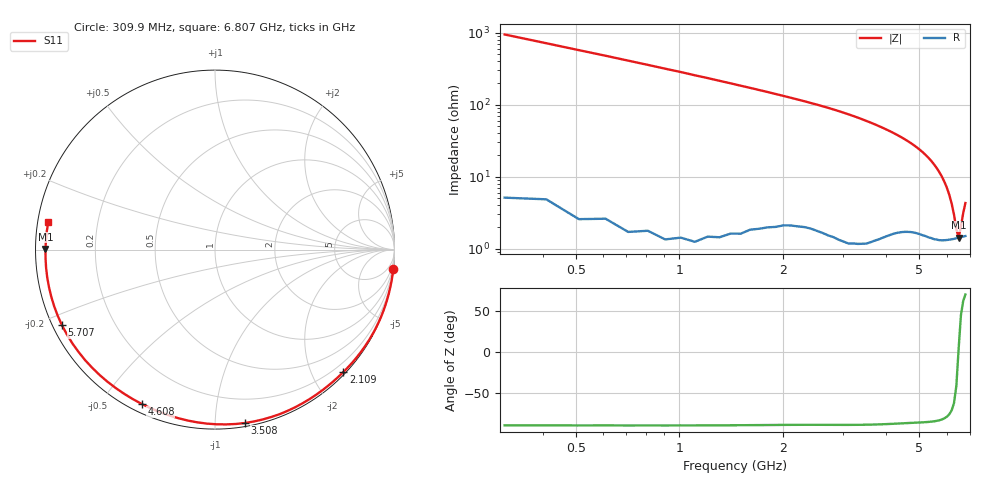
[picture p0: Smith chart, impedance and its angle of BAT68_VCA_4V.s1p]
! Infineon Technologies  Discrete & RF Semiconductors
! BAT68
! VCA = 4 V
! One-Port S-Parameters
# Hz  S  MA  R  50
!f  S11
!Hz  Mag  Ang
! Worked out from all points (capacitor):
!   66 points, 309.9 MHz to 6.807 GHz, reference 50 ohm
!   read as one part to ground: C = 545 fF near 309.9 MHz
!   lowest |Z| = 1.43 ohm at 6.507 GHz (marker M1)
!   series resonance near 6.499 GHz, so ESL is about 1.1 nH
!   S11 on the Smith chart (normalised r, x): 309.9 MHz: 0, -19; 2.109 GHz: 0.04, -2.50; 3.508 GHz: 0.02, -1.19; 4.608 GHz: 0.03, -0.63; 5.707 GHz: 0.03, -0.23; 6.807 GHz: 0.03, +0.08
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3.0985e8  0.9994 -6.1
7.0965e8  0.999 -14.0
1.0095e9  0.9983 -20.0
1.2094e9  0.9974 -24.2
1.6092e9  0.9942 -32.7
2.009e9  0.9895 -41.4
2.10895e9  0.9884 -43.7
2.50875e9  0.9859 -52.9
2.8086e9  0.9853 -60.4
3.10845e9  0.985 -68.5
3.30835e9  0.9831 -74.2
3.50825e9  0.9805 -80.2
3.6082e9  0.9784 -83.2
3.8081e9  0.9735 -89.4
4.008e9  0.9676 -95.8
4.2079e9  0.9614 -102.2
4.4078e9  0.9559 -108.8
4.6077e9  0.9519 -115.4
4.90755e9  0.949 -125.7
5.10745e9  0.9494 -132.5
5.2074e9  0.9495 -136.1
5.50725e9  0.951 -146.7
5.70715e9  0.951 -153.8
5.90705e9  0.95 -160.7
6.007e9  0.9492 -164.1
6.2069e9  0.9474 -170.7
6.50675e9  0.9444 179.7
6.8066e9  0.9418 170.7
